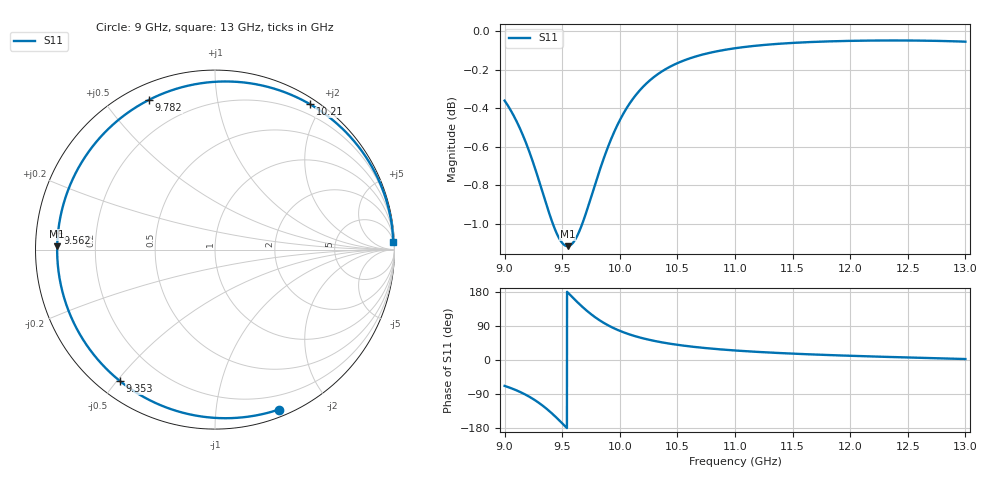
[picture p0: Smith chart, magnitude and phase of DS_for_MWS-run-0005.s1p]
! TOUCHSTONE file generated by CST DESIGN STUDIO
! Date and time: Tue Feb  4 18:30:37 2025
! Project name: C:\Work\MatlabApps\UnitCellOptimizationMatlab\CST\unitcell.cst
! Tree item: Tasks\Sweep1\SPara1\S-Parameters
! Header version: 2024
! Port assignment regex: !\s*Touchstone port\s*([0-9]+)\s*=\s*(CST MWS port|CST DES external port|CST DES block port)\s*(.+)\s* \(\"(.*)\"\)(\s*mode\s*([0-9]+))?.*
! Touchstone port assignment:
! Touchstone port 1 = CST DES external port 1 ("")
# GHz S MA R 50
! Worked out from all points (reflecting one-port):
!   4001 points, 9 GHz to 13 GHz, reference 50 ohm
!   lowest |S11| = -1.1 dB at 9.546 GHz (marker M1), VSWR 15.60, Z = 3.21 + j0.542 ohm
!   phase of S11 starts at -68 deg and turns -289 deg over the sweep
!   S11 on the Smith chart (normalised r, x): 9 GHz: 0.07, -1.47; 9.353 GHz: 0.06, -0.51; 9.562 GHz: 0.06, +0.05; 9.782 GHz: 0.07, +0.65; 10.21 GHz: 0.07, +1.85; 13 GHz: 6, +44
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9  0.9594 -68.3
9.099  0.9483 -79.6
9.208  0.9317 -95.8
9.284  0.9175 -110.2
9.353  0.9036 -125.9
9.423  0.8906 -144.3
9.463  0.8849 -155.9
9.5  0.8812 -167.0
9.546  0.8795 178.8
9.562  0.8797 173.8
9.617  0.8834 157.0
9.678  0.892 139.5
9.729  0.9014 126.1
9.782  0.9118 113.7
9.828  0.9208 104.1
9.879  0.9301 94.8
9.935  0.9392 85.8
10  0.9482 77.0
10.098  0.959 66.1
10.206  0.9677 56.8
10.341  0.9752 47.9
10.5  0.9811 40.1
10.721  0.9862 32.2
11  0.9899 25.1
11.5  0.9931 16.8
12  0.9943 11.1
12.5  0.9945 6.6
13  0.9938 2.6
